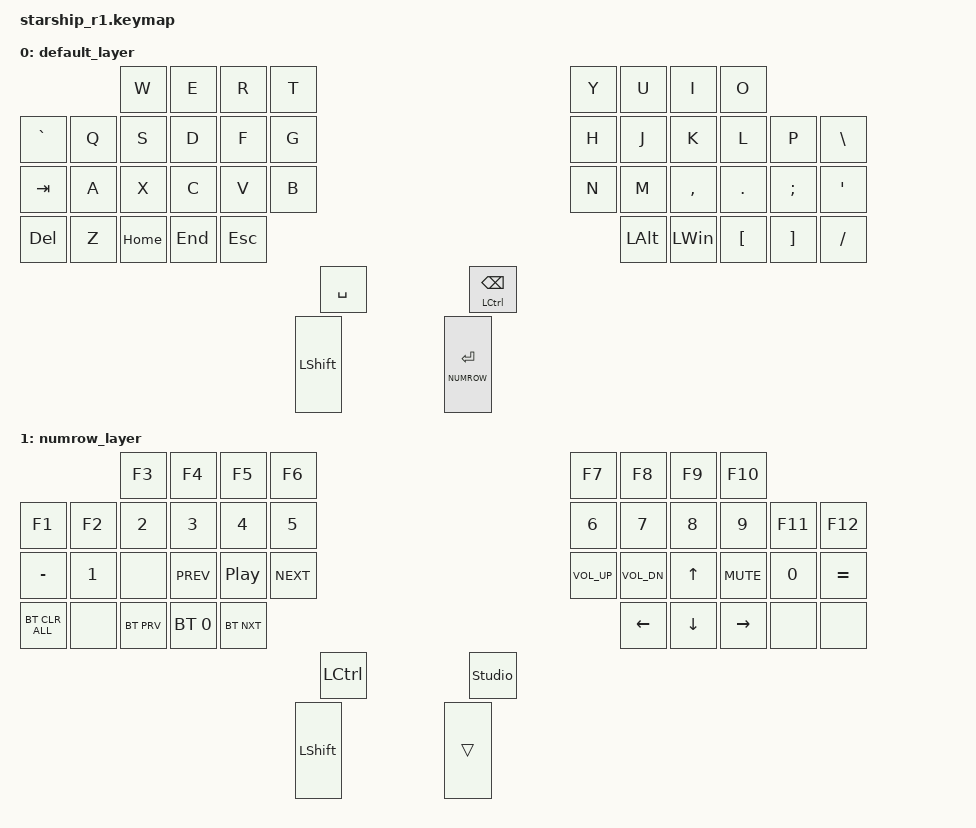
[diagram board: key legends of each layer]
#include <behaviors.dtsi>
#include <dt-bindings/zmk/keys.h>
#include <dt-bindings/zmk/bt.h>

#define DEFAULT 0
#define NUMROW 1

/ { 
  keymap {
    compatible = "zmk,keymap";

    default_layer {
      bindings = <
                   &kp W     &kp E    &kp R   &kp T                       &kp Y   &kp U     &kp I      &kp O  
&kp GRAVE  &kp Q   &kp S     &kp D    &kp F   &kp G                       &kp H   &kp J     &kp K      &kp L     &kp P     &kp BSLH
&kp TAB    &kp A   &kp X     &kp C    &kp V   &kp B                       &kp N   &kp M     &kp COMMA  &kp DOT   &kp SEMI  &kp APOS  
&kp DEL    &kp Z   &kp HOME  &kp END  &kp ESC                                     &kp LALT  &kp LWIN   &kp LBKT  &kp RBKT  &kp FSLH  
                                                  &kp SPACE       &mt LCTRL BSPC  
                                                  &kp LSHIFT      &lt NUMROW RET  
      >;
    };
    numrow_layer {
      bindings = <
                        &kp F3      &kp F4        &kp F5      &kp F6                       &kp F7        &kp F8        &kp F9    &kp F10  
&kp F1          &kp F2  &kp N2      &kp N3        &kp N4      &kp N5                       &kp N6        &kp N7        &kp N8    &kp N9      &kp F11  &kp F12
&kp MINUS       &kp N1  &none       &kp C_PREV    &kp C_PP    &kp C_NEXT                   &kp C_VOL_UP  &kp C_VOL_DN  &kp UP    &kp C_MUTE  &kp N0   &kp EQUAL  
&bt BT_CLR_ALL  &none   &bt BT_PRV  &bt BT_SEL 0  &bt BT_NXT                                             &kp LEFT      &kp DOWN  &kp RIGHT   &none    &none  
                                                                        &kp LCTRL        &studio_unlock  
                                                                        &kp LSHIFT       &trans 
      >;
    };
    
  };
};
